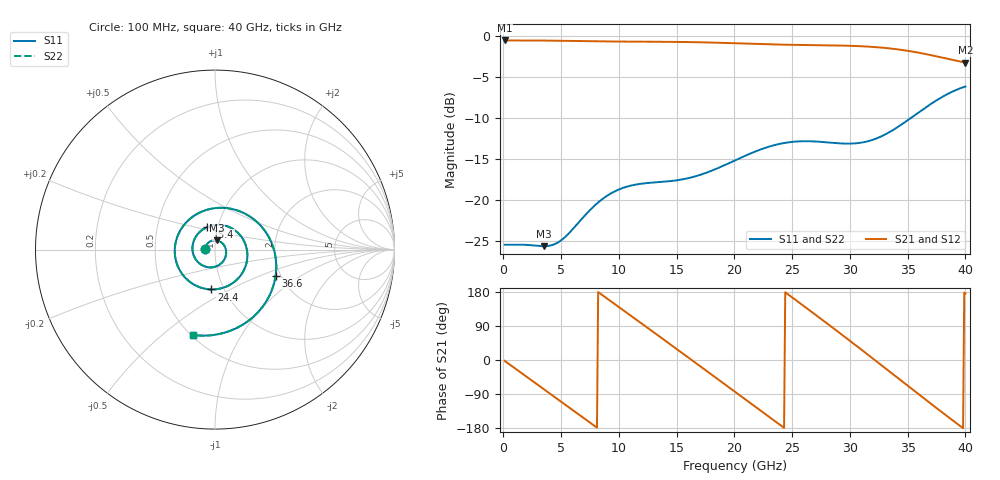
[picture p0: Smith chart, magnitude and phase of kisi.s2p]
! A_s4_d200_ap800: L1→L4 through L2/L3, drill Ø0.2, antipad Ø0.8, 4 GND vias at 1 mm
! stackup: 4-layer 1.6 mm FR-4
! ports: 1, 2
! kisi-fdtd, conformal, dfine 0.035 mm, 519453 cells
# Hz S RI R 50
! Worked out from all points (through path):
!   400 points, 100 MHz to 40 GHz, reference 50 ohm
!   highest |S21| = -0.57 dB at 100 MHz (marker M1); lowest = -3.3 dB at 40 GHz (marker M2)
!   group delay of S21, straight-line fit = 62.7 ps
!   lowest |S11| = -25.6 dB at 3.5 GHz (marker M3), VSWR 1.11, Z = 50.7 + j5.24 ohm
!   |S11| at or under -10 dB: start of sweep to 35.29 GHz
!   |S22| runs from -25.6 to -6.2 dB; largest |S21 - S12| = 2.5e-07
!   S11 on the Smith chart (normalised r, x): 100 MHz: 0.90, +0.00; 15.4 GHz: 0.89, +0.23; 24.4 GHz: 0.87, -0.41; 36.6 GHz: 1.88, -0.63; 40 GHz: 0.51, -0.64
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1e8  -0.0534 0.00212  0.9354 -0.036  0.9354 -0.036  -0.0534 0.00212
1.7e9  -0.0401 0.0354  0.7427 -0.5695  0.7427 -0.5695  -0.0401 0.0354
3.5e9  0.00947 0.0515  0.2069 -0.9115  0.2069 -0.9115  0.00947 0.0515
5.1e9  0.0559 0.0141  -0.3569 -0.8607  -0.3569 -0.8607  0.0559 0.0141
6.8e9  0.0496 -0.059  -0.8031 -0.4642  -0.8031 -0.4642  0.0496 -0.059
9.6e9  -0.0706 -0.0876  -0.7859 0.4821  -0.7859 0.4821  -0.0706 -0.0876
1.16e10  -0.124 -0.0128  -0.2291 0.8913  -0.2291 0.8913  -0.124 -0.0128
1.34e10  -0.1102 0.0661  0.3946 0.8302  0.3946 0.8302  -0.1102 0.0661
1.54e10  -0.0431 0.126  0.8609 0.3148  0.8609 0.3148  -0.0431 0.126
1.75e10  0.0635 0.1315  0.813 -0.411  0.813 -0.411  0.0635 0.1315
2.01e10  0.1744 0.0141  0.0787 -0.8965  0.0787 -0.8965  0.1744 0.0141
2.2e10  0.1537 -0.1278  -0.5423 -0.707  -0.5423 -0.707  0.1537 -0.1278
2.44e10  -0.0197 -0.2221  -0.8818 0.02  -0.8818 0.02  -0.0197 -0.2221
2.67e10  -0.1924 -0.1219  -0.5242 0.703  -0.5242 0.703  -0.1924 -0.1219
2.81e10  -0.2242 3.35e-05  -0.0716 0.8715  -0.0716 0.8715  -0.2242 3.35e-05
2.95e10  -0.185 0.1203  0.4043 0.7711  0.4043 0.7711  -0.185 0.1203
3.15e10  -0.0342 0.2248  0.8284 0.2291  0.8284 0.2291  -0.0342 0.2248
3.34e10  0.1573 0.2051  0.7285 -0.4143  0.7285 -0.4143  0.1573 0.2051
3.5e10  0.2963 0.076  0.3065 -0.7495  0.3065 -0.7495  0.2963 0.076
3.66e10  0.3377 -0.145  -0.2094 -0.7438  -0.2094 -0.7438  0.3377 -0.145
3.83e10  0.1956 -0.3896  -0.6 -0.4125  -0.6 -0.4125  0.1956 -0.3896
4e10  -0.121 -0.4758  -0.6842 0.0534  -0.6842 0.0534  -0.121 -0.4758
